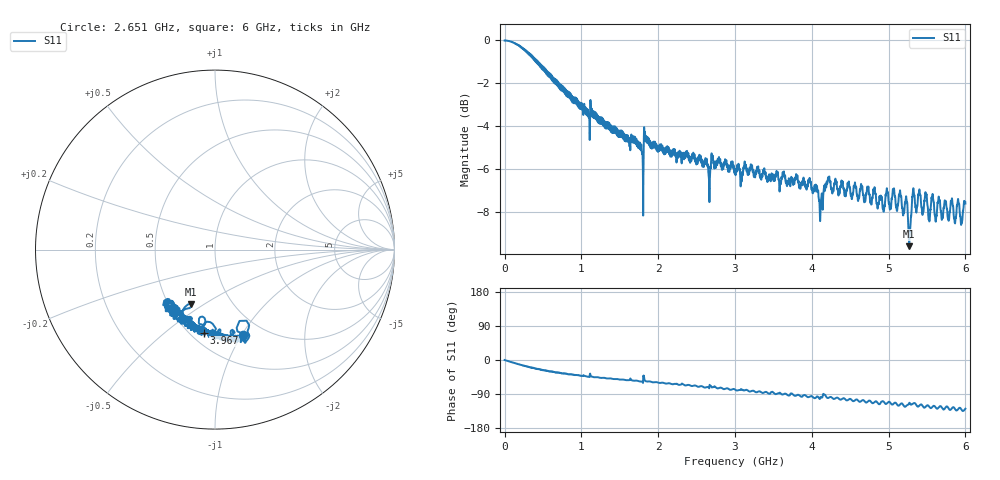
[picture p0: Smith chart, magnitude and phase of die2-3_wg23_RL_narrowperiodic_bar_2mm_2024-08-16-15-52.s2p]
!Keysight Technologies,P9374A,MY57304198,A.17.20.09
!Date: Friday, August 16, 2024 15:52:56
!Correction: S11(C  1-Port  )
!S21(C  1-Port  )
!S12(Off)
!S22(Off)
!S2P File: Measurements: S11, S21, S12, S22:
# Hz S  dB  R 50
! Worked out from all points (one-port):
!   6000 points, 300 kHz to 6 GHz, reference 50 ohm
!   lowest |S11| = -9.6 dB at 5.268 GHz (marker M1), VSWR 1.99, Z = 32.3 - j22 ohm
!   |S11| at or under -10 dB: nowhere
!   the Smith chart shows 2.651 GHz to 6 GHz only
!   S11 on the Smith chart (normalised r, x): 2.651 GHz: 0.80, -1.01; 3.967 GHz: 0.58, -0.70; 6 GHz: 0.49, -0.38
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300000  -0.00 -0.0  -200.00 45.0  -200.00 45.0  -200.00 45.0
1.813211e8  -0.24 -11.3  -200.00 45.0  -200.00 45.0  -200.00 45.0
4.193489e8  -0.91 -22.8  -200.00 45.0  -200.00 45.0  -200.00 45.0
6.643775e8  -1.81 -32.1  -200.00 45.0  -200.00 45.0  -200.00 45.0
1.000417e9  -3.13 -41.9  -200.00 45.0  -200.00 45.0  -200.00 45.0
1.688497e9  -4.72 -54.7  -200.00 45.0  -200.00 45.0  -200.00 45.0
1.786508e9  -5.19 -56.9  -200.00 45.0  -200.00 45.0  -200.00 45.0
1.836514e9  -4.70 -55.6  -200.00 45.0  -200.00 45.0  -200.00 45.0
2.000533e9  -5.13 -59.7  -200.00 45.0  -200.00 45.0  -200.00 45.0
2.650609e9  -6.01 -71.8  -200.00 45.0  -200.00 45.0  -200.00 45.0
3.00065e9  -6.11 -78.2  -200.00 45.0  -200.00 45.0  -200.00 45.0
3.966763e9  -6.55 -97.3  -200.00 45.0  -200.00 45.0  -200.00 45.0
4.000767e9  -6.91 -95.6  -200.00 45.0  -200.00 45.0  -200.00 45.0
4.11678e9  -7.51 -97.7  -200.00 45.0  -200.00 45.0  -200.00 45.0
4.164786e9  -6.85 -91.7  -200.00 45.0  -200.00 45.0  -200.00 45.0
4.2888e9  -6.75 -102.8  -200.00 45.0  -200.00 45.0  -200.00 45.0
5.000883e9  -7.58 -110.5  -200.00 45.0  -200.00 45.0  -200.00 45.0
5.219909e9  -7.51 -122.9  -200.00 45.0  -200.00 45.0  -200.00 45.0
5.267915e9  -9.58 -113.9  -200.00 45.0  -200.00 45.0  -200.00 45.0
5.327922e9  -7.07 -113.9  -200.00 45.0  -200.00 45.0  -200.00 45.0
5.470938e9  -7.39 -125.7  -200.00 45.0  -200.00 45.0  -200.00 45.0
6e9  -7.60 -128.6  -200.00 45.0  -200.00 45.0  -200.00 45.0
